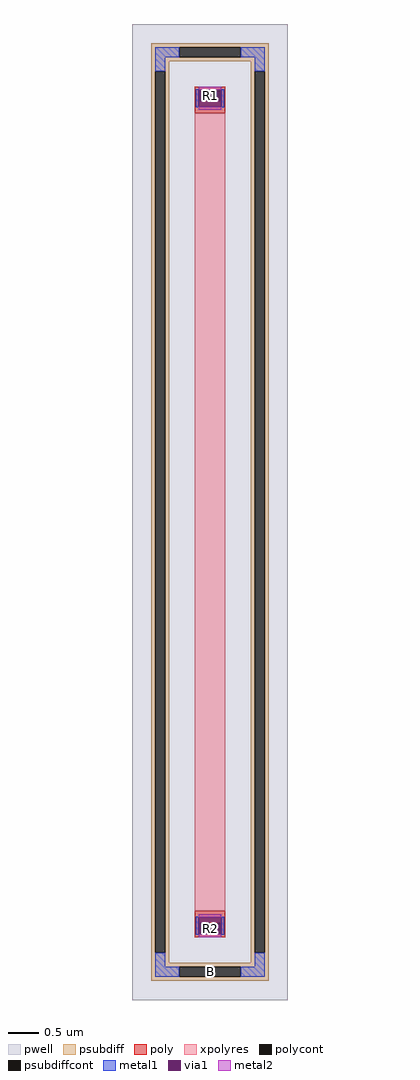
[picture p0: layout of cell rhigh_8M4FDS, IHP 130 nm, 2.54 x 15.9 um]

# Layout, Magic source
magic
tech ihp-sg13g2
magscale 1 2
<< pwell >>
rect -254 -1590 254 1590
<< psubdiff >>
rect -192 1514 192 1528
rect -192 1482 -100 1514
rect 100 1482 192 1514
rect -192 1468 192 1482
rect -192 1436 -132 1468
rect -192 -1436 -178 1436
rect -146 -1436 -132 1436
rect 132 1436 192 1468
rect -192 -1468 -132 -1436
rect 132 -1436 146 1436
rect 178 -1436 192 1436
rect 132 -1468 192 -1436
rect -192 -1482 192 -1468
rect -192 -1514 -100 -1482
rect 100 -1514 192 -1482
rect -192 -1528 192 -1514
<< psubdiffcont >>
rect -100 1482 100 1514
rect -178 -1436 -146 1436
rect 146 -1436 178 1436
rect -100 -1514 100 -1482
<< poly >>
rect -50 1372 50 1386
rect -50 1340 -36 1372
rect 36 1340 50 1372
rect -50 1300 50 1340
rect -50 -1340 50 -1300
rect -50 -1372 -36 -1340
rect 36 -1372 50 -1340
rect -50 -1386 50 -1372
<< polycont >>
rect -36 1340 36 1372
rect -36 -1372 36 -1340
<< xpolyres >>
rect -50 -1300 50 1300
<< metal1 >>
rect -178 1482 -100 1514
rect 100 1482 178 1514
rect -178 1436 -146 1482
rect 146 1436 178 1482
rect -46 1376 46 1377
rect -46 1320 -36 1376
rect 36 1320 46 1376
rect -46 1319 46 1320
rect -46 -1320 46 -1319
rect -46 -1376 -36 -1320
rect 36 -1376 46 -1320
rect -46 -1377 46 -1376
rect -178 -1482 -146 -1436
rect 146 -1482 178 -1436
rect -178 -1514 -100 -1482
rect 100 -1514 178 -1482
<< via1 >>
rect -36 1372 36 1376
rect -36 1340 36 1372
rect -36 1320 36 1340
rect -36 -1340 36 -1320
rect -36 -1372 36 -1340
rect -36 -1376 36 -1372
<< metal2 >>
rect -36 1376 36 1385
rect -36 1311 36 1320
rect -36 -1320 36 -1311
rect -36 -1385 36 -1376
<< labels >>
rlabel psubdiffcont 0 -1498 0 -1498 0 B
port 1 nsew
rlabel polycont 0 1356 0 1356 0 R1
port 2 nsew
rlabel polycont 0 -1356 0 -1356 0 R2
port 3 nsew
<< properties >>
string FIXED_BBOX -162 -1498 162 1498
string gencell rhigh
string library sg13g2
string parameters w 0.50 l 13 m 1 nx 1 wmin 0.50 lmin 0.50 class resistor rho 1360 val 35.36k dummy 0 dw 0.0 term 0.0 sterm 0.0 caplen 0 guard 1 glc 1 grc 1 gtc 1 gbc 1 snake 0 full_metal 1 n_guard 0 hv_guard 0 vias 1 viagb 0 viagt 0 viagl 0 viagr 0 doports 1
<< end >>
